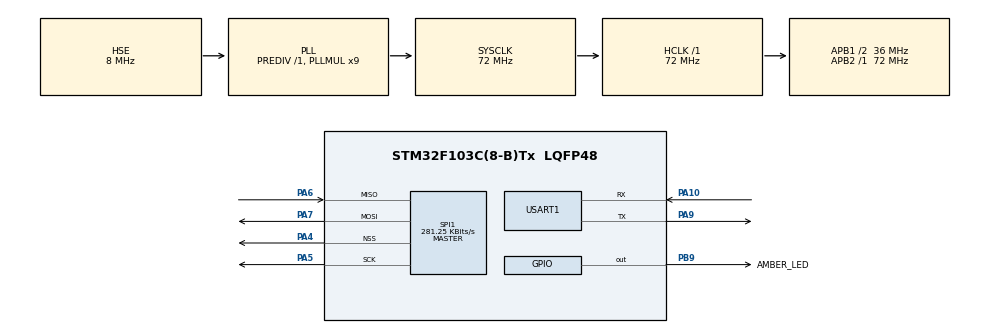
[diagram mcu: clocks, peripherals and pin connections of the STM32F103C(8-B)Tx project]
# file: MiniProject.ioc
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Mcu.Family=STM32F1
Mcu.Name=STM32F103C(8-B)Tx
Mcu.Package=LQFP48
NVIC.PriorityGroup=NVIC_PRIORITYGROUP_4
NVIC.USART1_IRQn=true\:0\:0\:false\:false\:true
PA10.Mode=Asynchronous
PA10.Signal=USART1_RX
PA13.Mode=Serial_Wire
PA13.Signal=SYS_JTMS-SWDIO
PA14.Mode=Serial_Wire
PA14.Signal=SYS_JTCK-SWCLK
PA4.Mode=NSS_Signal_Hard_Output
PA4.Signal=SPI1_NSS
PA5.Mode=Full_Duplex_Master
PA5.Signal=SPI1_SCK
PA6.Mode=Full_Duplex_Master
PA6.Signal=SPI1_MISO
PA7.Mode=Full_Duplex_Master
PA7.Signal=SPI1_MOSI
PA9.Mode=Asynchronous
PA9.Signal=USART1_TX
PB9.GPIO_Label=AMBER_LED
PB9.GPIO_ModeDefaultOutputPP=GPIO_MODE_OUTPUT_PP
PB9.PinState=GPIO_PIN_SET
PB9.Signal=GPIO_Output
PD0-OSC_IN.Mode=HSE-External-Oscillator
PD0-OSC_IN.Signal=RCC_OSC_IN
PD1-OSC_OUT.Mode=HSE-External-Oscillator
PD1-OSC_OUT.Signal=RCC_OSC_OUT
ProjectManager.HeapSize=0x200
ProjectManager.StackSize=0x400
ProjectManager.TargetToolchain=SW4STM32
RCC.AHBFreq_Value=72000000
RCC.APB1CLKDivider=RCC_HCLK_DIV2
RCC.APB1Freq_Value=36000000
RCC.APB1TimFreq_Value=72000000
RCC.APB2Freq_Value=72000000
RCC.APB2TimFreq_Value=72000000
RCC.HCLKFreq_Value=72000000
RCC.PLLMUL=RCC_PLL_MUL9
RCC.PLLSourceVirtual=RCC_PLLSOURCE_HSE
RCC.SYSCLKFreq_VALUE=72000000
RCC.SYSCLKSource=RCC_SYSCLKSOURCE_PLLCLK
RCC.USBFreq_Value=72000000
SPI1.BaudRatePrescaler=SPI_BAUDRATEPRESCALER_256
SPI1.CLKPhase=SPI_PHASE_1EDGE
SPI1.CLKPolarity=SPI_POLARITY_HIGH
SPI1.CalculateBaudRate=281.25 KBits/s
SPI1.Direction=SPI_DIRECTION_2LINES
SPI1.Mode=SPI_MODE_MASTER
SPI1.VirtualNSS=VM_NSSHARD
SPI1.VirtualType=VM_MASTER
USART1.VirtualMode=VM_ASYNC
board=MiniProject

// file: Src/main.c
/**
  ******************************************************************************
  * File Name          : main.c
  * Description        : Main program body
  ******************************************************************************
  ** This notice applies to any and all portions of this file
  * that are not between comment pairs USER CODE BEGIN and
  * USER CODE END. Other portions of this file, whether
  * inserted by the user or by software development tools
  * are owned by their respective copyright owners.
  *
  * COPYRIGHT(c) 2017 STMicroelectronics
  *
  * Redistribution and use in source and binary forms, with or without modification,
  * are permitted provided that the following conditions are met:
  *   1. Redistributions of source code must retain the above copyright notice,
  *      this list of conditions and the following disclaimer.
  *   2. Redistributions in binary form must reproduce the above copyright notice,
  *      this list of conditions and the following disclaimer in the documentation
  *      and/or other materials provided with the distribution.
  *   3. Neither the name of STMicroelectronics nor the names of its contributors
  *      may be used to endorse or promote products derived from this software
  *      without specific prior written permission.
  *
  * THIS SOFTWARE IS PROVIDED BY THE COPYRIGHT HOLDERS AND CONTRIBUTORS "AS IS"
  * AND ANY EXPRESS OR IMPLIED WARRANTIES, INCLUDING, BUT NOT LIMITED TO, THE
  * IMPLIED WARRANTIES OF MERCHANTABILITY AND FITNESS FOR A PARTICULAR PURPOSE ARE
  * DISCLAIMED. IN NO EVENT SHALL THE COPYRIGHT HOLDER OR CONTRIBUTORS BE LIABLE
  * FOR ANY DIRECT, INDIRECT, INCIDENTAL, SPECIAL, EXEMPLARY, OR CONSEQUENTIAL
  * DAMAGES (INCLUDING, BUT NOT LIMITED TO, PROCUREMENT OF SUBSTITUTE GOODS OR
  * SERVICES; LOSS OF USE, DATA, OR PROFITS; OR BUSINESS INTERRUPTION) HOWEVER
  * CAUSED AND ON ANY THEORY OF LIABILITY, WHETHER IN CONTRACT, STRICT LIABILITY,
  * OR TORT (INCLUDING NEGLIGENCE OR OTHERWISE) ARISING IN ANY WAY OUT OF THE USE
  * OF THIS SOFTWARE, EVEN IF ADVISED OF THE POSSIBILITY OF SUCH DAMAGE.
  *
  ******************************************************************************
  */
#include "main.h"
#include "stm32f1xx_hal.h"

/* USER CODE BEGIN Includes */
#include <string.h>
#include "strtonum.h"
#include <stdio.h>
#include <stdlib.h>
#include <errno.h>
#include <ctype.h>
#include <limits.h>

/* USER CODE END Includes */

SPI_HandleTypeDef hspi1;

UART_HandleTypeDef huart1;

/* USER CODE BEGIN PV */
/* Private variables ---------------------------------------------------------*/

/* USER CODE END PV */

void SystemClock_Config(void);
static void MX_GPIO_Init(void);
static void MX_USART1_UART_Init(void);
static void MX_SPI1_Init(void);

/* USER CODE BEGIN PFP */
/* Private function prototypes -----------------------------------------------*/
void executeCMD(UART_HandleTypeDef *huart);
extern void initialise_monitor_handles(void);
void caseFunction(void);
/* USER CODE END PFP */

/* USER CODE BEGIN 0 */
#define MAXCLISTRING	100 	// Biggest string the user will type
uint8_t rxBuffer = 0; 			// where we store that one character that just came in
char rxString[MAXCLISTRING]; 	// where we build our string from characters coming in
int rxindex = 0; 				// index for going though rxString
#define CR		13				//"\r"
#define LF	 	10				//"\n"
#define BS		8				//"\b"
#define	del		127				//"del"
char messageResponse[] = "hello";
char *tempString;
long int getValue;
long int address;
int dataByte;

void executeCMD(UART_HandleTypeDef *huart){
	rxString[rxindex] = (char)rxBuffer;
	rxindex++;
	printf("rxindex = [ %d ]	rxBuffer= [ '%c' ]\n", rxindex, rxBuffer);
	HAL_UART_Transmit_IT(&huart1, &rxBuffer, 1); // Echo the character that caused this callback so the user can see what they are typing
	if (rxBuffer  == del || rxBuffer == BS){
		printf("delete mode\n");
		rxindex--;
		if(rxindex < 0){
			rxindex = 0;
		}
	}
	if (rxBuffer == LF){	// If user enter, response the cmd
		rxindex = 0;
		tempString = &rxString[0];
		printf("response\n");
		//do{
			getValue = getNumber(&tempString);
			caseFunction();
	//	}while(getValue != -2); // end of line
		//HAL_UART_Transmit_IT(&huart1, (uint8_t *)messageResponse, 4);
	}
}

void caseFunction(void){
	int returnValue;
	switch(getValue){
	case 2://WRITE
		returnValue = getNumber(&tempString);
		if(returnValue != -2 || returnValue != -1 || returnValue != 2 ||returnValue != 3 || returnValue != 4){
			address = getNumber(&tempString);
			dataByte = loop(&tempString);
		}
		break;
	case 3:	//READ
		returnValue = getNumber(&tempString);
		if(returnValue != -2 || returnValue != -1 || returnValue != 2 ||returnValue != 2 || returnValue != 4){
			address = getNumber(&tempString);
			returnValue = getNumber(&tempString);
			if(returnValue != -2 || returnValue != -1 || returnValue != 2 ||returnValue != 2 || returnValue != 4){
			dataByte = getNumber(&tempString);
			}
		}
		break;
	default: address = 0;

	}
}
void HAL_UART_RxCpltCallback(UART_HandleTypeDef *huart)
{

    __HAL_UART_FLUSH_DRREGISTER(&huart1); // Clear the buffer to prevent overrun
    executeCMD(&huart1);
    HAL_UART_Receive_IT(&huart1, &rxBuffer, 1);

}
/* USER CODE END 0 */

int main(void)
{

  /* MCU Configuration----------------------------------------------------------*/

  /* Reset of all peripherals, Initializes the Flash interface and the Systick. */
  HAL_Init();

  /* Configure the system clock */
  SystemClock_Config();

  /* Initialize all configured peripherals */
  MX_GPIO_Init();
  MX_USART1_UART_Init();
  MX_SPI1_Init();

  /* USER CODE BEGIN 2 */
  initialise_monitor_handles();
  //HAL_UART_Transmit_IT(&huart1, (uint8_t *)messageResponse, 4);
  HAL_UART_Receive_IT(&huart1, &rxBuffer, 1);
  //HAL_SPI_Transmit(&hspi1, 10, 1, 0);

/*  HAL_FLASH_Unlock();  //unlock the FLASH interface
  //FLASH should be previously erased before new program
  // CLEAR all Flag
  CLEAR_BIT(FLASH->SR, FLASH_SR_BSY); //CLEAR BUSY FLAG
  CLEAR_BIT(FLASH->SR, FLASH_SR_EOP); //CLEAR End Of Operation FLAG
  CLEAR_BIT(FLASH->SR, FLASH_SR_PGERR); //CLEAR Programming error FLAG
  CLEAR_BIT(FLASH->SR, FLASH_SR_WRPRTERR); //CLEAR Write protection error FLAG
  FLASH_PageErase(Address);
  HAL_FLASH_Program(type_Program, Address, Data);
  HAL_FLASH_Lock();*/

  //Data = 0; // read the data
  //Data = (*(uint32_t*)(Address));

  /* USER CODE END 2 */

  /* Infinite loop */
  while (1)
  {

  }

}

/** System Clock Configuration
*/
void SystemClock_Config(void)
{

  RCC_OscInitTypeDef RCC_OscInitStruct;
  RCC_ClkInitTypeDef RCC_ClkInitStruct;

    /**Initializes the CPU, AHB and APB busses clocks
    */
  RCC_OscInitStruct.OscillatorType = RCC_OSCILLATORTYPE_HSE;
  RCC_OscInitStruct.HSEState = RCC_HSE_ON;
  RCC_OscInitStruct.HSEPredivValue = RCC_HSE_PREDIV_DIV1;
  RCC_OscInitStruct.HSIState = RCC_HSI_ON;
  RCC_OscInitStruct.PLL.PLLState = RCC_PLL_ON;
  RCC_OscInitStruct.PLL.PLLSource = RCC_PLLSOURCE_HSE;
  RCC_OscInitStruct.PLL.PLLMUL = RCC_PLL_MUL9;
  if (HAL_RCC_OscConfig(&RCC_OscInitStruct) != HAL_OK)
  {
    _Error_Handler(__FILE__, __LINE__);
  }

    /**Initializes the CPU, AHB and APB busses clocks
    */
  RCC_ClkInitStruct.ClockType = RCC_CLOCKTYPE_HCLK|RCC_CLOCKTYPE_SYSCLK
                              |RCC_CLOCKTYPE_PCLK1|RCC_CLOCKTYPE_PCLK2;
  RCC_ClkInitStruct.SYSCLKSource = RCC_SYSCLKSOURCE_PLLCLK;
  RCC_ClkInitStruct.AHBCLKDivider = RCC_SYSCLK_DIV1;
  RCC_ClkInitStruct.APB1CLKDivider = RCC_HCLK_DIV2;
  RCC_ClkInitStruct.APB2CLKDivider = RCC_HCLK_DIV1;

  if (HAL_RCC_ClockConfig(&RCC_ClkInitStruct, FLASH_LATENCY_2) != HAL_OK)
  {
    _Error_Handler(__FILE__, __LINE__);
  }

    /**Configure the Systick interrupt time
    */
  HAL_SYSTICK_Config(HAL_RCC_GetHCLKFreq()/1000);

    /**Configure the Systick
    */
  HAL_SYSTICK_CLKSourceConfig(SYSTICK_CLKSOURCE_HCLK);

  /* SysTick_IRQn interrupt configuration */
  HAL_NVIC_SetPriority(SysTick_IRQn, 0, 0);
}

/* SPI1 init function */
static void MX_SPI1_Init(void)
{

  hspi1.Instance = SPI1;
  hspi1.Init.Mode = SPI_MODE_MASTER;
  hspi1.Init.Direction = SPI_DIRECTION_2LINES;
  hspi1.Init.DataSize = SPI_DATASIZE_8BIT;
  hspi1.Init.CLKPolarity = SPI_POLARITY_HIGH;
  hspi1.Init.CLKPhase = SPI_PHASE_1EDGE;
  hspi1.Init.NSS = SPI_NSS_HARD_OUTPUT;
  hspi1.Init.BaudRatePrescaler = SPI_BAUDRATEPRESCALER_256;
  hspi1.Init.FirstBit = SPI_FIRSTBIT_MSB;
  hspi1.Init.TIMode = SPI_TIMODE_DISABLE;
  hspi1.Init.CRCCalculation = SPI_CRCCALCULATION_DISABLE;
  hspi1.Init.CRCPolynomial = 10;
  if (HAL_SPI_Init(&hspi1) != HAL_OK)
  {
    _Error_Handler(__FILE__, __LINE__);
  }

}

/* USART1 init function */
static void MX_USART1_UART_Init(void)
{

  huart1.Instance = USART1;
  huart1.Init.BaudRate = 115200;
  huart1.Init.WordLength = UART_WORDLENGTH_8B;
  huart1.Init.StopBits = UART_STOPBITS_1;
  huart1.Init.Parity = UART_PARITY_NONE;
  huart1.Init.Mode = UART_MODE_TX_RX;
  huart1.Init.HwFlowCtl = UART_HWCONTROL_NONE;
  huart1.Init.OverSampling = UART_OVERSAMPLING_16;
  if (HAL_UART_Init(&huart1) != HAL_OK)
  {
    _Error_Handler(__FILE__, __LINE__);
  }

}

/** Configure pins as
        * Analog
        * Input
        * Output
        * EVENT_OUT
        * EXTI
*/
static void MX_GPIO_Init(void)
{

  GPIO_InitTypeDef GPIO_InitStruct;

  /* GPIO Ports Clock Enable */
  __HAL_RCC_GPIOD_CLK_ENABLE();
  __HAL_RCC_GPIOA_CLK_ENABLE();
  __HAL_RCC_GPIOB_CLK_ENABLE();

  /*Configure GPIO pin Output Level */
  HAL_GPIO_WritePin(AMBER_LED_GPIO_Port, AMBER_LED_Pin, GPIO_PIN_SET);

  /*Configure GPIO pin : AMBER_LED_Pin */
  GPIO_InitStruct.Pin = AMBER_LED_Pin;
  GPIO_InitStruct.Mode = GPIO_MODE_OUTPUT_PP;
  GPIO_InitStruct.Speed = GPIO_SPEED_FREQ_LOW;
  HAL_GPIO_Init(AMBER_LED_GPIO_Port, &GPIO_InitStruct);

}

void _Error_Handler(char * file, int line)
{
  while(1)
  {
  }
}

/************************ (C) COPYRIGHT STMicroelectronics *****END OF FILE****/
